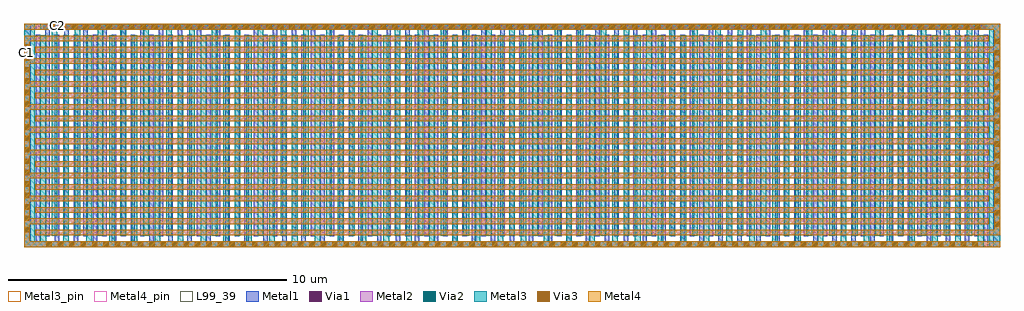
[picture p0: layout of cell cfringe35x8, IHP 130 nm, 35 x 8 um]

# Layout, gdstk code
import gdstk
lib = gdstk.Library(unit=1e-6, precision=1e-09)
def R(c, l, rs):  # rectangles x0, y0, x1, y1
    for r in rs: c.add(gdstk.rectangle(r[:2], r[2:], *l))
def A(c, l, x, y, w, h, nx, ny, dx, dy):  # array of equal rectangles
    R(c, l, [(x+i*dx, y+j*dy, x+i*dx+w, y+j*dy+h) for i in range(nx) for j in range(ny)])
Metal1 = (8, 0)
Metal2 = (10, 0)
Via1 = (19, 0)
Via2 = (29, 0)
Metal3 = (30, 0)
Metal3_pin = (30, 2)
Via3 = (49, 0)
Metal4 = (50, 0)
Metal4_pin = (50, 2)
L99_39 = (99, 39)

cap_mfringe = lib.new_cell('cap_mfringe')
A(cap_mfringe, Metal1, 0.42, 0, 0.16, 7.61, 51, 1, 0.68, 0)
A(cap_mfringe, Metal1, 0.76, 0.39, 0.16, 7.61, 50, 1, 0.68, 0)
R(cap_mfringe, Metal1, [(0,0,34.58,0.21), (0,0,0.24,8), (34.76,0,35,8), (0.42,7.79,35,8)])
A(cap_mfringe, Metal2, 0.42, 0.415, 34.58, 0.2, 1, 9, 0, 0.82)
A(cap_mfringe, Metal2, 0, 0.825, 34.58, 0.2, 1, 9, 0, 0.82)
R(cap_mfringe, Metal2, [(0,0,35,0.205), (0,0,0.205,7.585), (34.795,0.415,35,8), (0,7.795,35,8)])
A(cap_mfringe, Via1, 0.8, 0.01, 0.19, 0.19, 82, 1, 0.41, 0)
A(cap_mfringe, Via1, 0.01, 0.525, 0.19, 0.19, 1, 17, 0, 0.41)
A(cap_mfringe, Via1, 34.8, 0.725, 0.19, 0.19, 1, 17, 0, 0.41)
A(cap_mfringe, Via1, 0.695, 7.8, 0.19, 0.19, 83, 1, 0.41, 0)
A(cap_mfringe, Via2, 0.8, 0.005, 0.19, 0.19, 82, 1, 0.41, 0)
A(cap_mfringe, Via2, 0.005, 0.525, 0.19, 0.19, 1, 17, 0, 0.41)
A(cap_mfringe, Via2, 34.805, 0.725, 0.19, 0.19, 1, 17, 0, 0.41)
A(cap_mfringe, Via2, 0.9, 7.805, 0.19, 0.19, 82, 1, 0.41, 0)
A(cap_mfringe, Metal3, 0.59, 0, 0.2, 7.59, 42, 1, 0.82, 0)
A(cap_mfringe, Metal3, 1, 0.41, 0.2, 7.59, 41, 1, 0.82, 0)
R(cap_mfringe, Metal3, [(0,0,0.38,8), (0,0,34.41,0.2), (34.62,0,35,8), (0.59,7.8,35,8)])
A(cap_mfringe, Via3, 0.8, 0.005, 0.19, 0.19, 82, 1, 0.41, 0)
A(cap_mfringe, Via3, 0.005, 0.525, 0.19, 0.19, 1, 17, 0, 0.41)
A(cap_mfringe, Via3, 34.805, 0.725, 0.19, 0.19, 1, 17, 0, 0.41)
A(cap_mfringe, Via3, 0.9, 7.805, 0.19, 0.19, 82, 1, 0.41, 0)
A(cap_mfringe, Metal4, 0.41, 0.415, 34.59, 0.2, 1, 9, 0, 0.82)
A(cap_mfringe, Metal4, 0, 0.825, 34.59, 0.2, 1, 9, 0, 0.82)
R(cap_mfringe, Metal4, [(0,0,35,0.205), (0,0,0.2,7.585), (34.8,0.415,35,8), (0,7.795,35,8)])
R(cap_mfringe, Metal4_pin, [(0,3.9,0.2,4.1), (17.4,7.8,17.6,8)])
R(cap_mfringe, L99_39, [(0,0,35,8)])
cap_mfringe.add(gdstk.Label('cap_mfringe C=649.600fF', (0,-0.5), layer=63, texttype=0))

cfringe35x8 = lib.new_cell('cfringe35x8')
cfringe35x8.add(gdstk.FlexPath([(-12.5,4.64),(-12.295,4.64)], 0.2, ends="flush", simple_path=True, layer=30, datatype=2))  # Metal3_pin
cfringe35x8.add(gdstk.FlexPath([(-11.545,5.6),(-11.095,5.6)], 0.2, ends="flush", simple_path=True, layer=30, datatype=2))  # Metal3_pin
r = gdstk.Reference(cap_mfringe, (-12.5,-2.3)); r.repetition = gdstk.Repetition(1, 1, v1=(0,0), v2=(0,0)); cfringe35x8.add(r)
cfringe35x8.add(gdstk.Label('C2', (-11.3,5.63), layer=30, texttype=25))
cfringe35x8.add(gdstk.Label('C1', (-12.4,4.66), layer=30, texttype=25))

lib.write_gds('cfringe35x8.gds')
